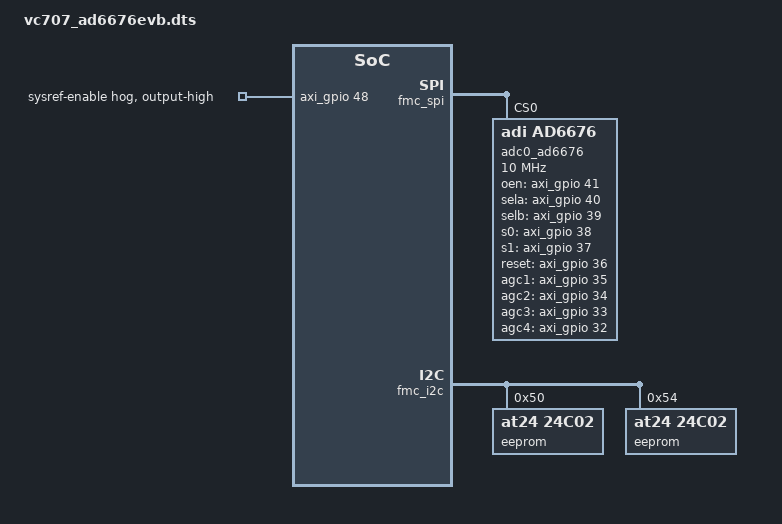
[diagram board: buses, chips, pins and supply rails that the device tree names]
// SPDX-License-Identifier: GPL-2.0
/*
 * Analog Devices AD6676
 * https://wiki.analog.com/resources/tools-software/linux-drivers/iio-adc/ad6676
 * https://wiki.analog.com/resources/eval/ad6676-wideband_rx_subsystem_ad6676ebz
 *
 * hdl_project: <ad6676evb/vc707>
 * board_revision: <>
 *
 * Copyright (C) 2016-2019 Analog Devices Inc.
 */
/dts-v1/;
/include/ "vc707.dtsi"

#define fmc_i2c fmc1_hpc_iic
#define fmc_spi axi_spi

/ {
	clocks {
		ad6676_clkin: clock@1 {
			#clock-cells = <0>;
			compatible = "fixed-clock";
			clock-frequency = <200000000>;
			clock-output-names = "clkin";
		};
	};
};

&amba_pl {
	axi_ad6676_core: axi-ad6676-hpc@44a10000 {
		compatible = "adi,axi-ad6676-1.0";
		reg = <0x44a10000 0x10000>;
		dmas = <&axi_ad6676_dma 0>;
		dma-names = "rx";
		spibus-connected = <&adc0_ad6676>;
	};
	axi_ad6676_dma: axi_dmac@7c420000 {
		compatible = "adi,axi-dmac-1.00.a";
		interrupt-parent = <&axi_intc>;
		interrupts = <13 2>;
		reg = <0x7c420000 0x10000>;
		#dma-cells = <1>;
		clocks = <&clk_bus_0>;

		adi,channels {
			#size-cells = <0>;
			#address-cells = <1>;

			dma-channel@0 {
				reg = <0>;
				adi,source-bus-width = <64>;
				adi,source-bus-type = <2>;
				adi,destination-bus-width = <64>;
				adi,destination-bus-type = <0>;
			};
		};
	};
	axi_ad6676_jesd: axi-jesd204-rx@44aa0000 {
		compatible = "adi,axi-jesd204-rx-1.0";
		reg = <0x44aa0000 0x1000>;

		interrupt-parent = <&axi_intc>;
		interrupts = <12 2>;

		clocks = <&clk_bus_0>, <&axi_adxcvr 1>, <&axi_adxcvr 0>;
		clock-names = "s_axi_aclk", "device_clk", "lane_clk";

		#clock-cells = <0>;
		clock-output-names = "jesd_adc_lane_clk";

		adi,octets-per-frame = <2>;
		adi,frames-per-multiframe = <16>;
	};

	axi_adxcvr: axi-adxcvr@44a60000 {
		compatible = "adi,axi-adxcvr-1.0";
		reg = <0x44a60000 0x1000>;

		clocks = <&ad6676_clkin>;
		clock-names = "conv";

		#clock-cells = <1>;
		clock-output-names = "adc_gt_clk", "rx_out_clk";

		adi,sys-clk-select = <0>;
		adi,out-clk-select = <4>;
		adi,use-cpll-enable;
	};
};

&fmc_spi {
	adc0_ad6676: ad6676@0 {
		#address-cells = <1>;
		#size-cells = <0>;
		compatible = "adi,ad6676";
		reg = <0>;
		spi-max-frequency = <10000000>;
		clocks = <&axi_ad6676_jesd>, <&ad6676_clkin>;
		clock-names = "jesd_clk", "ref_clk";

		adi,adc-frequency-hz = <3200000000>;
		adi,adc-frequency-fixed-enable;
		adi,intermediate-frequency-hz = <250000000>;

		adi,intermediate-frequency-min-hz = <150000000>;
		adi,intermediate-frequency-max-hz = <450000000>;

		adi,bandwidth-hz = <75000000>;
		adi,margin-low-mhz = <5>;
		adi,margin-high-mhz = <5>;
		adi,margin-if-mhz = <0>;
		adi,decimation = <16>;
		adi,external-inductance-l-nh = <19>;
		//adi,use-external-clk-enable;

		adi,jesd-scrambling-enable;
		adi,jesd-use-lvds-syncb-enable;
		//adi,jesd-powerdown-sysref-enable;
		adi,jesd-l-lanes = <2>;
		adi,jesd-f-frames-per-multiframe = <16>;

		adi,shuffler-control = <1>;
		adi,shuffler-thresh = <5>;

		oen-gpios = <&axi_gpio 41 8>;   /* 0 */
		sela-gpios = <&axi_gpio 40 8>;  /* 0 */
		selb-gpios = <&axi_gpio 39 8>;  /* 1 */
		s0-gpios = <&axi_gpio 38 8>;    /* 0 */
		s1-gpios = <&axi_gpio 37 8>;    /* 1 */
		reset-gpios = <&axi_gpio 36 8>; /* 1 */
		agc1-gpios = <&axi_gpio 35 8>;
		agc2-gpios = <&axi_gpio 34 8>;
		agc3-gpios = <&axi_gpio 33 8>;
		agc4-gpios = <&axi_gpio 32 8>;

	};
};

&axi_gpio {
	sysref_enable {
		gpio-hog;
		gpios = <48 0>;
		output-high;
		line-name = "sysref-enable";
	};
};

&fmc_i2c {
	eeprom@50 {
		compatible = "at24,24c02";
		reg = <0x50>;
	};

	eeprom@54 {
		compatible = "at24,24c02";
		reg = <0x54>;
	};
};
